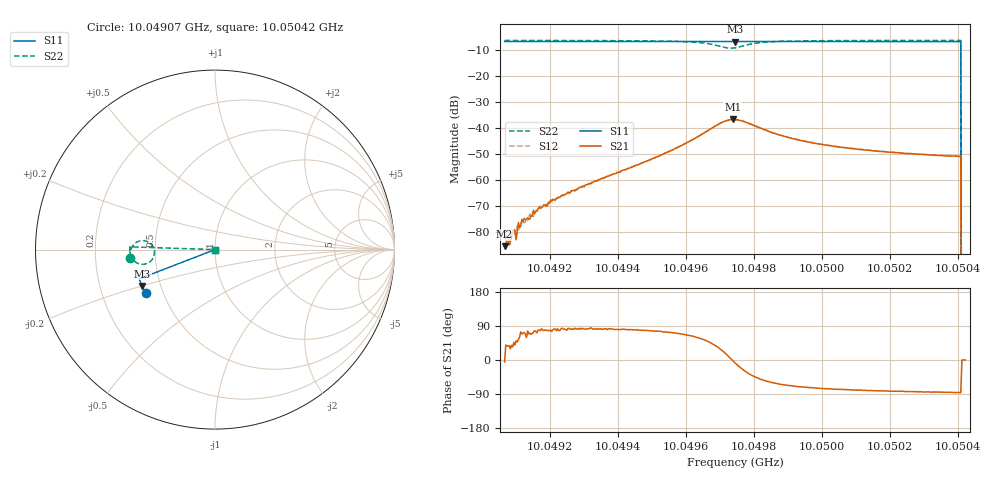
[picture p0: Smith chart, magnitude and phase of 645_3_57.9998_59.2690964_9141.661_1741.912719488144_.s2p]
#  HZ  S  RI  R  50.00
! Rohde & Schwarz Vector Network Analyzer
! Rohde-Schwarz,ZNB20-2Port,1311601062101988,3.16
! Created: UTC 3/21/2024, 1:19:13 AM
! freq[Hz]  re:S11  im:S11  re:S21  im:S21  re:S12  im:S12  re:S22  im:S22
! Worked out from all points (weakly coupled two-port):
!   401 points, 10.04907 GHz to 10.05042 GHz, reference 50 ohm
!   highest |S21| = -36.88 dB at 10.04974 GHz (marker M1); lowest = -85.6 dB at 10.04907 GHz (marker M2)
!   lowest |S11| = -6.9 dB at 10.04974 GHz (marker M3), VSWR 2.65, Z = 19.8 - j10.1 ohm
!   |S11| at or under -10 dB: 10.05041 GHz to end of sweep
!   |S22| runs from - to -6.5 dB; largest |S21 - S12| = 0.0011
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1.0049067e10  -0.3849 -0.2422  5.21e-05 -4.52e-06  6.57e-05 1.84e-05  -0.4736 -0.0445
1.0049094e10  -0.3859 -0.2407  7.5e-05 7.85e-05  2.56e-05 8.57e-05  -0.4736 -0.0421
1.0049107e10  -0.3862 -0.24  8.82e-05 0.000121  3.69e-05 0.000101  -0.4736 -0.041
1.0049124e10  -0.387 -0.2389  5.39e-05 0.000171  1.1e-05 0.000146  -0.4737 -0.0396
1.0049141e10  -0.3874 -0.238  5.75e-05 0.000166  5.91e-05 0.000207  -0.4737 -0.038
1.0049158e10  -0.3881 -0.2369  5.89e-05 0.000235  4.88e-05 0.000251  -0.4736 -0.0364
1.0049179e10  -0.3887 -0.2358  5.57e-05 0.000293  4.8e-05 0.000318  -0.4737 -0.0345
1.0049209e10  -0.3897 -0.2341  7.06e-05 0.000414  1.67e-05 0.00041  -0.4734 -0.0316
1.0049294e10  -0.3923 -0.2291  8.4e-05 0.000704  5.25e-05 0.000744  -0.4731 -0.0229
1.004952e10  -0.3995 -0.2157  0.000686 0.00273  0.00054 0.00281  -0.4646 0.0107
1.0049608e10  -0.4017 -0.2102  0.00229 0.00489  0.00197 0.00499  -0.4463 0.0345
1.0049676e10  -0.4033 -0.206  0.0071 0.0067  0.00664 0.00717  -0.3969 0.0498
1.004971e10  -0.4036 -0.2042  0.012 0.00487  0.0117 0.00554  -0.3526 0.0268
1.0049737e10  -0.4042 -0.2031  0.0143 -0.00041  0.0142 0.000646  -0.3375 -0.0236
1.0049744e10  -0.4042 -0.2027  0.0141 -0.00194  0.0142 -0.000818  -0.3407 -0.0372
1.0049825e10  -0.4071 -0.1988  0.00579 -0.00749  0.00613 -0.00711  -0.4307 -0.0763
1.0049889e10  -0.4093 -0.1949  0.00278 -0.00618  0.0032 -0.00602  -0.4572 -0.0554
1.0049971e10  -0.4115 -0.1898  0.00148 -0.00489  0.00174 -0.00486  -0.4684 -0.0357
1.0050198e10  -0.4174 -0.1759  0.000469 -0.00334  0.000673 -0.00331  -0.4749 -0.00407
1.0050401e10  -0.4221 -0.1634  0.000223 -0.00279  0.000362 -0.0028  -0.4753 0.0147
1.0050418e10  0 0  0 0  0 0  0 0
1.0050421e10  0 0  0 0  0 0  0 0
